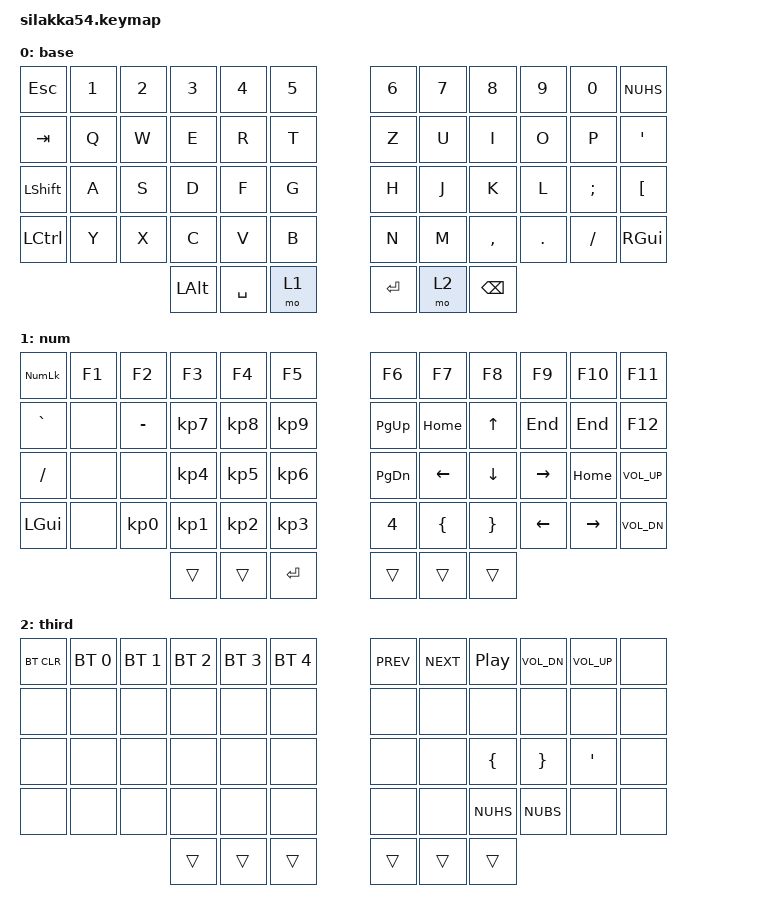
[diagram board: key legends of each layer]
/*
 * Copyright (c) 2024 The ZMK Contributors
 *
 * SPDX-License-Identifier: MIT
 */

#include <behaviors.dtsi>
#include <dt-bindings/zmk/keys.h>
#include <dt-bindings/zmk/bt.h>

/ {
    combos {
        compatible = "zmk,combos";

        // Combo pour acceder au layer Bluetooth (third)
        combo_bt_layer {
            timeout-ms = <50>;
            key-positions = <40 41>; // SPACE + ENTER ensemble
            bindings = <&mo 2>;
        };
    };

    keymap {
        compatible = "zmk,keymap";

        base {
// ------------------------------------------------------------------------------------------------------------
// |  ESC  |  1  |  2  |  3   |  4   |  5   |                   |  6   |  7    |  8    |  9   |   0   |  NUHS |
// |  TAB  |  Q  |  W  |  E   |  R   |  T   |                   |  Z   |  U    |  I    |  O   |   P   |   '   |
// | SHIFT |  A  |  S  |  D   |  F   |  G   |                   |  H   |  J    |  K    |  L   |   ;   |   [   |
// | CTRL  |  Y |  X  |  C   |  V   |  B   |                   |  N   |  M    |  ,    |  .   |   /   |  GUI  |
//                     | ALT  |  .   | SPACE|                   | RET  | BKSP  | MO(1) |
            bindings = <
&kp ESC   &kp N1 &kp N2    &kp N3    &kp N4   &kp N5                     &kp N6    &kp N7    &kp N8    &kp N9    &kp N0    &kp NUHS
&kp TAB   &kp Q  &kp W     &kp E     &kp R    &kp T                      &kp Z     &kp U     &kp I     &kp O     &kp P     &kp SQT
&kp LSHFT &kp A  &kp S     &kp D     &kp F    &kp G                      &kp H     &kp J     &kp K     &kp L     &kp SEMI  &kp LBKT
&kp LCTRL &kp Y  &kp X     &kp C     &kp V    &kp B                      &kp N     &kp M     &kp COMMA &kp DOT   &kp FSLH  &kp RGUI
                           &kp LALT  &kp SPACE &mo 1                  &kp RET   &mo 2     &kp BSPC
            >;
        };

        num {
// ------------------------------------------------------------------------------------------------------------
// |  NUM  |  F1  |  F2  |  F3  |  F4  |  F5  |                   |  F6  |  F7   |  F8   |  F9   |  F10  |  F11  |
// |   `   |      |  -   | 7 HM | 8 UP | 9 PU |                   | PGUP | HOME  |   UP  |  END  |  END  |  F12  |
// |   /   |      |      |  4 L | 5 DN | 6 R  |                   | PGDN |  LEFT |  DOWN | RIGHT | HOME  | VOLUP |
// |  GUI  |      | 0 IN | 1 EN | 2 DN | 3 PD |                   |  4   |   {   |   }   |  LEFT | RIGHT | VOLDN |
//                     | TRANS| TRANS| ENT  |                   | TRANS| TRANS | TRANS |
            bindings = <
&kp KP_NUM &kp F1    &kp F2    &kp F3     &kp F4      &kp F5                    &kp F6    &kp F7    &kp F8    &kp F9    &kp F10   &kp F11
&kp GRAVE  &none     &kp MINUS &kp KP_N7  &kp KP_N8   &kp KP_N9                 &kp PG_UP &kp HOME  &kp UP    &kp END   &kp END   &kp F12
&kp FSLH   &none     &none     &kp KP_N4  &kp KP_N5   &kp KP_N6                 &kp PG_DN &kp LEFT  &kp DOWN  &kp RIGHT &kp HOME  &kp K_VOL_UP
&kp LGUI   &none     &kp KP_N0 &kp KP_N1  &kp KP_N2   &kp KP_N3                 &kp N4    &kp LBRC  &kp RBRC  &kp LEFT  &kp RIGHT &kp K_VOL_DN
                               &trans     &trans      &kp RET                   &trans    &trans    &trans
            >;
        };

        third {
// ------------------------------------------------------------------------------------------------------------
// | BTCLR | BT1 | BT2 |  BT3 |  BT4 |  BT5 |                   | PREV | NEXT  | PLAY  | VOL_DN| VOL_UP|       |
// |       |     |     |      |      |      |                   |      |       |       |       |       |       |
// |       |     |     |      |      |      |                   |      |       |   {   |   }   |   '   |       |
// |       |     |     |      |      |      |                   |      |       |  NUHS | NUBS  |       |       |
//                     | TRANS| TRANS| TRANS|                   | TRANS| TRANS | TRANS |
            bindings = <
&bt BT_CLR &bt BT_SEL 0 &bt BT_SEL 1 &bt BT_SEL 2 &bt BT_SEL 3 &bt BT_SEL 4             &kp C_PREV &kp C_NEXT &kp C_PP &kp C_VOL_DN &kp C_VOL_UP &none
&none      &none        &none        &none        &none        &none                    &none      &none      &none    &none        &none        &none
&none      &none        &none        &none        &none        &none                    &none      &none      &kp LBRC &kp RBRC     &kp SQT      &none
&none      &none        &none        &none        &none        &none                    &none      &none      &kp NUHS &kp NUBS     &none        &none
                                     &trans       &trans       &trans                   &trans     &trans     &trans
            >;
        };
    };
};

